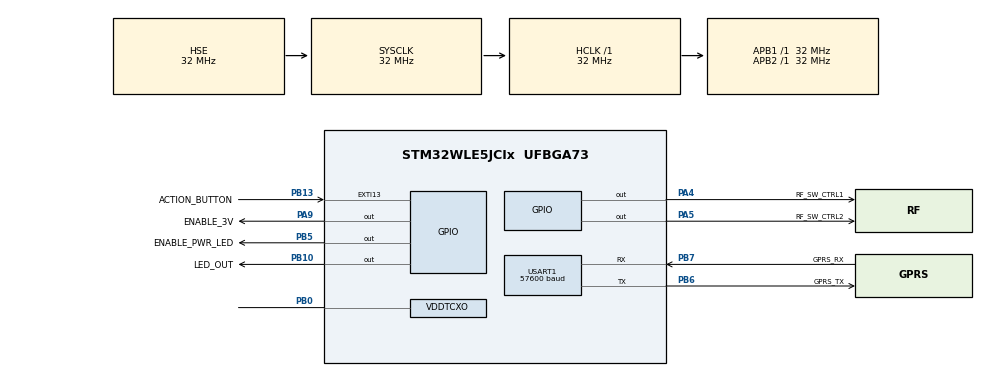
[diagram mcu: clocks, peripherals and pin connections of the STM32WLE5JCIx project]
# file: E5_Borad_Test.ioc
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ADC.ClockPrescaler=ADC_CLOCK_SYNC_PCLK_DIV4
ADC.NbrOfConversion=1
ADC.Overrun=ADC_OVR_DATA_OVERWRITTEN
ADC.SamplingTimeCommon1=ADC_SAMPLETIME_160CYCLES_5
ADC.SamplingTimeCommon2=ADC_SAMPLETIME_160CYCLES_5
ADC.SelectedChannel=ADC_CHANNEL_TEMPSENSOR|ADC_CHANNEL_VREFINT
Dma.Request0=USART1_TX
Dma.USART1_TX.0.Direction=DMA_MEMORY_TO_PERIPH
Dma.USART1_TX.0.EventEnable=DISABLE
Dma.USART1_TX.0.Instance=DMA1_Channel1
Dma.USART1_TX.0.MemDataAlignment=DMA_MDATAALIGN_BYTE
Dma.USART1_TX.0.MemInc=DMA_MINC_ENABLE
Dma.USART1_TX.0.Mode=DMA_NORMAL
Dma.USART1_TX.0.PeriphDataAlignment=DMA_PDATAALIGN_BYTE
Dma.USART1_TX.0.PeriphInc=DMA_PINC_DISABLE
Dma.USART1_TX.0.Polarity=HAL_DMAMUX_REQ_GEN_RISING
Dma.USART1_TX.0.Priority=DMA_PRIORITY_LOW
Dma.USART1_TX.0.RequestNumber=1
Dma.USART1_TX.0.SignalID=NONE
Dma.USART1_TX.0.SyncEnable=DISABLE
Dma.USART1_TX.0.SyncPolarity=HAL_DMAMUX_SYNC_NO_EVENT
Dma.USART1_TX.0.SyncRequestNumber=1
Dma.USART1_TX.0.SyncSignalID=NONE
IWDG.Prescaler=IWDG_PRESCALER_32
IWDG.Reload=4095
IWDG.Window=4095
Mcu.Family=STM32WL
Mcu.Name=STM32WLE5JCIx
Mcu.Package=UFBGA73
Mcu.UserConstants=RTC_PREDIV_A,((1<<(15-RTC_N_PREDIV_S))-1);RTC_N_PREDIV_S,10;RTC_PREDIV_S,((1<<RTC_N_PREDIV_S)-1)
NVIC.PriorityGroup=NVIC_PRIORITYGROUP_4
NVIC.SUBGHZ_Radio_IRQn=true\:6\:0\:true\:false\:true\:true\:true\:true
NVIC.TIM2_IRQn=true\:0\:0\:false\:false\:true\:true\:true\:true
OSC_IN.Mode=HSE-TCXO
OSC_IN.Signal=RCC_OSC_IN
PA4.GPIO_Label=RF_SW_CTRL1
PA4.GPIO_Speed=GPIO_SPEED_FREQ_VERY_HIGH
PA4.Signal=GPIO_Output
PA5.GPIO_Label=RF_SW_CTRL2
PA5.GPIO_Speed=GPIO_SPEED_FREQ_VERY_HIGH
PA5.Signal=GPIO_Output
PA9.GPIO_Label=ENABLE_3V
PA9.GPIO_Speed=GPIO_SPEED_FREQ_LOW
PA9.PinState=GPIO_PIN_SET
PA9.Signal=GPIO_Output
PB0-VDD_TCXO.Mode=HSE-TCXO
PB0-VDD_TCXO.Signal=VDDTCXO
PB10.GPIO_Label=LED_OUT
PB10.GPIO_PuPd=GPIO_PULLUP
PB10.PinState=GPIO_PIN_SET
PB10.Signal=GPIO_Output
PB13.GPIO_Label=ACTION_BUTTON
PB13.GPIO_PuPd=GPIO_PULLUP
PB13.Signal=GPXTI13
PB5.GPIO_Label=ENABLE_PWR_LED
PB5.PinState=GPIO_PIN_RESET
PB5.Signal=GPIO_Output
PB6.GPIO_Label=GPRS_TX
PB6.GPIO_PuPd=GPIO_PULLUP
PB6.Mode=Asynchronous
PB6.Signal=USART1_TX
PB7.GPIO_Label=GPRS_RX
PB7.GPIO_PuPd=GPIO_PULLUP
PB7.Mode=Asynchronous
PB7.Signal=USART1_RX
PC14-OSC32_IN.Mode=LSE-External-Oscillator
PC14-OSC32_IN.Signal=RCC_OSC32_IN
PC15-OSC32_OUT.Mode=LSE-External-Oscillator
PC15-OSC32_OUT.Signal=RCC_OSC32_OUT
ProjectManager.HeapSize=0x200
ProjectManager.StackSize=0x400
ProjectManager.TargetToolchain=Makefile
RCC.AHBFreq_Value=32000000
RCC.APB1Freq_Value=32000000
RCC.APB1TimFreq_Value=32000000
RCC.APB2Freq_Value=32000000
RCC.APB2TimFreq_Value=32000000
RCC.APB3Freq_Value=32000000
RCC.CortexFreq_Value=32000000
RCC.HCLKFreq_Value=32000000
RCC.HSE_VALUE=32000000
RCC.HSI_VALUE=16000000
RCC.LSE_VALUE=32768
RCC.PLLSourceVirtual=RCC_PLLSOURCE_HSE
RCC.RTCClockSelection=RCC_RTCCLKSOURCE_HSE_DIV32
RCC.SYSCLKFreq_VALUE=32000000
RCC.SYSCLKSource=RCC_SYSCLKSOURCE_HSE
RCC.VCOOutputFreq_Value=256000000
RTC.Alarm-Alarm\ A=RTC_ALARM_A
SUBGHZ.BaudratePrescaler=SUBGHZSPI_BAUDRATEPRESCALER_4
SUBGHZ_PHY.APP_LOG_ENABLED=false
SUBGHZ_PHY.Activate_RADIO_BOARD_INTERFACE=Bsp
SUBGHZ_PHY.LORA_FIX_LENGTH_PAYLOAD_ON=true
SUBGHZ_PHY.LOW_POWER_DISABLE=true
SUBGHZ_PHY.MW_LOG_ENABLED=false
SUBGHZ_PHY.RF_FREQUENCY=868000000
SUBGHZ_PHY.SUBGHZ_APPLICATION=SUBGHZ_ADV_APPLICATION
SubGHz_Phy.BSP.number=2
SubGHz_Phy0.BSP.STBoard=false
SubGHz_Phy0.BSP.api=Unknown
SubGHz_Phy0.BSP.condition=\!SEM_SUBGHZ_USER_APPLICATION | SEM_SUBGHZ_USE_RTC
SubGHz_Phy0.BSP.instance=RTC
SubGHz_Phy0.BSP.ip=RTC
SubGHz_Phy0.BSP.mode=RTC Enabled
SubGHz_Phy0.BSP.name=RTC
SubGHz_Phy0.BSP.solution=RTC
SubGHz_Phy1.BSP.STBoard=false
SubGHz_Phy1.BSP.api=Unknown
SubGHz_Phy1.BSP.condition=\!SEM_SUBGHZ_USER_APPLICATION | SEM_SUBGHZ_USE_UART
SubGHz_Phy1.BSP.instance=USART1
SubGHz_Phy1.BSP.ip=(LPU|US)ART
SubGHz_Phy1.BSP.mode=Asynchronous
SubGHz_Phy1.BSP.name=USART
SubGHz_Phy1.BSP.solution=USART1
TIM2.Prescaler=32000-1
USART1.BaudRate=57600
USART1.VirtualMode-Asynchronous=VM_ASYNC
VP_ADC_TempSens_Input.Mode=IN-TempSens
VP_ADC_Vref_Input.Mode=IN-Vrefint
VP_ADV_TRACE_VS_ADV_TRACE.Mode=ADV_TRACE_Enabled
VP_IWDG_VS_IWDG.Mode=IWDG_Activate
VP_MISC_VS_MISC.Mode=MISC_Enabled
VP_RTC_VS_RTC_Activate.Mode=RTC_Enabled
VP_RTC_VS_RTC_Alarm_A_Intern.Mode=Alarm A
VP_RTC_VS_RTC_Calendar.Mode=RTC_Calendar
VP_SEQUENCER_VS_SEQUENCER.Mode=SEQUENCER_Enabled
VP_SUBGHZ_PHY_VS_SubGhzPhy.Mode=SubGhzPhy_Enabled
VP_SUBGHZ_VS_SUBGHZ.Mode=SUBGHZ_Activate
VP_TIM2_VS_ClockSourceINT.Mode=Internal
VP_TIMER_VS_TIMER.Mode=TIMER_Enabled
VP_TINY_LPM_VS_TINY_LPM.Mode=TINY_LPM_Enabled
board=custom

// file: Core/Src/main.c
/* USER CODE BEGIN Header */
/**
 ******************************************************************************
 * @file           : main.c
 * @brief          : Main program body
 ******************************************************************************
 * @attention
 *
 * Copyright (c) 2024 STMicroelectronics.
 * All rights reserved.
 *
 * This software is licensed under terms that can be found in the LICENSE file
 * in the root directory of this software component.
 * If no LICENSE file comes with this software, it is provided AS-IS.
 *
 ******************************************************************************
 */
/* USER CODE END Header */
#include "main.h"
#include "adc.h"
#include "app_subghz_phy.h"
#include "dma.h"
#include "gpio.h"
#include "rtc.h"
#include "tim.h"
#include "usart.h"

/* USER CODE BEGIN Includes */
#include "iwdg.h"
#include "stm32wlxx.h"

#include "user_system.h"

/* USER CODE END Includes */

/* USER CODE BEGIN PV */
HAL_StatusTypeDef uart2status = HAL_OK;
int32_t timer5sStatus = 0;
int32_t timer20sStatus = 0;
int32_t dataOkStatus = 0;
int32_t loraRecieveOkStatus = 0;
uint8_t mqttMessageCounter = 0;
uint8_t debugDifference = 0;
bool sendMqttData = false;
/* USER CODE END PV */

void SystemClock_Config(void);

/* USER CODE BEGIN 0 */
int _write(int fd, unsigned char *buf, int len) {
  if (fd == 1 || fd == 2) { // stdout or stderr ?
    // HAL_UART_Transmit(&huart1, buf, len, 999); // Print to the UART
    uart2status =
        HAL_UART_Transmit(&huart1, buf, len, 999); // Print to the UART
    // Orange wire => RX2
    // Yellow wire => TX2
  }
  return len;
}

uint64_t mg_millis(void) { return HAL_GetTick(); }

/* USER CODE END 0 */

int main(void) {

  /* MCU Configuration--------------------------------------------------------*/

  /* Reset of all peripherals, Initializes the Flash interface and the Systick.
   */
  HAL_Init();

  /* Configure the system clock */
  SystemClock_Config();

  /* Initialize all configured peripherals */
  MX_GPIO_Init();
  MX_DMA_Init();
  MX_USART1_UART_Init();
  MX_RTC_Init();
  MX_SubGHz_Phy_Init();
  MX_ADC_Init();
  MX_TIM2_Init();
  /* USER CODE BEGIN 2 */

  /* Init ticks */
  HAL_TIM_Base_Start_IT(&htim2);
  initDelayCustomTimer();
  /* Long delay is given to spot if the gate way got reset */
  timer5sStatus = getTick_CustomTimer_Sec();
  timer20sStatus = getTick_CustomTimer_Sec();
  dataOkStatus = getTick_CustomTimer_Sec();
  loraRecieveOkStatus = getTick_CustomTimer_Sec();

  printf("\r\n\r\n**********End Node : %s**********\r\n\r\n", SENSOR_ID);
  initUart();

  /* USER CODE END 2 */

  /* Infinite loop */
  /* USER CODE BEGIN WHILE */

  /* Init IWDG */
  // initIwdg();

  while (1) {
    /* USER CODE END WHILE */

    /* USER CODE BEGIN 3 */
    listenForLoraNodes(LORA_LISTENING_DURATION);

    // printf(" . \r\n");
    Delay_CustomTimer(1000);

    refreshIwdg();
  }
  /* USER CODE END 3 */
}

void SystemClock_Config(void) {
  RCC_OscInitTypeDef RCC_OscInitStruct = {0};
  RCC_ClkInitTypeDef RCC_ClkInitStruct = {0};

  /** Configure the main internal regulator output voltage
   */
  __HAL_PWR_VOLTAGESCALING_CONFIG(PWR_REGULATOR_VOLTAGE_SCALE1);

  /** Initializes the CPU, AHB and APB buses clocks
   */
  RCC_OscInitStruct.OscillatorType =
      RCC_OSCILLATORTYPE_LSI | RCC_OSCILLATORTYPE_HSE;
  RCC_OscInitStruct.HSEState = RCC_HSE_BYPASS_PWR;
  RCC_OscInitStruct.LSIDiv = RCC_LSI_DIV1;
  RCC_OscInitStruct.HSEDiv = RCC_HSE_DIV1;
  RCC_OscInitStruct.LSIState = RCC_LSI_ON;
  RCC_OscInitStruct.PLL.PLLState = RCC_PLL_NONE;
  if (HAL_RCC_OscConfig(&RCC_OscInitStruct) != HAL_OK) {
    Error_Handler();
  }

  /** Configure the SYSCLKSource, HCLK, PCLK1 and PCLK2 clocks dividers
   */
  RCC_ClkInitStruct.ClockType = RCC_CLOCKTYPE_HCLK3 | RCC_CLOCKTYPE_HCLK |
                                RCC_CLOCKTYPE_SYSCLK | RCC_CLOCKTYPE_PCLK1 |
                                RCC_CLOCKTYPE_PCLK2;
  RCC_ClkInitStruct.SYSCLKSource = RCC_SYSCLKSOURCE_HSE;
  RCC_ClkInitStruct.AHBCLKDivider = RCC_SYSCLK_DIV1;
  RCC_ClkInitStruct.APB1CLKDivider = RCC_HCLK_DIV1;
  RCC_ClkInitStruct.APB2CLKDivider = RCC_HCLK_DIV1;
  RCC_ClkInitStruct.AHBCLK3Divider = RCC_SYSCLK_DIV1;

  if (HAL_RCC_ClockConfig(&RCC_ClkInitStruct, FLASH_LATENCY_1) != HAL_OK) {
    Error_Handler();
  }
}

/* USER CODE BEGIN 4 */
void resetAllTimerState(void) {
  loraRecieveOkStatus = getTick_CustomTimer_Sec();
  dataOkStatus = getTick_CustomTimer_Sec();
}
/* USER CODE END 4 */

void Error_Handler(void) {
  __disable_irq();
  while (1) {
  }
}

#ifdef USE_FULL_ASSERT
/**
 * @brief  Reports the name of the source file and the source line number
 *         where the assert_param error has occurred.
 * @param  file: pointer to the source file name
 * @param  line: assert_param error line source number
 * @retval None
 */
void assert_failed(uint8_t *file, uint32_t line) {
  /* USER CODE BEGIN 6 */
  /* User can add his own implementation to report the file name and line
     number,
     ex: printf("Wrong parameters value: file %s on line %d\r\n", file, line) */
  /* USER CODE END 6 */
}
#endif /* USE_FULL_ASSERT */
